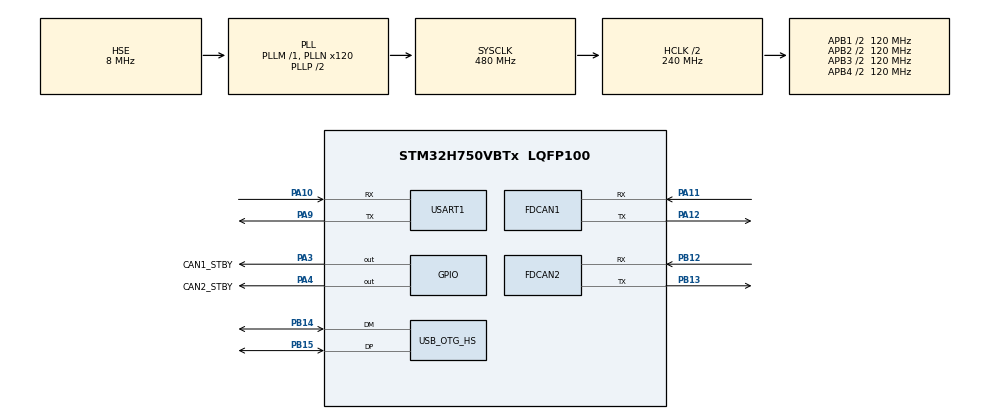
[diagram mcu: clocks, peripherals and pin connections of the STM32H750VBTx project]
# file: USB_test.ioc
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CORTEX_M7.default_mode_Activation=1
Dma.Request0=USART1_TX
Dma.USART1_TX.0.Direction=DMA_MEMORY_TO_PERIPH
Dma.USART1_TX.0.EventEnable=DISABLE
Dma.USART1_TX.0.FIFOMode=DMA_FIFOMODE_DISABLE
Dma.USART1_TX.0.Instance=DMA1_Stream0
Dma.USART1_TX.0.MemDataAlignment=DMA_MDATAALIGN_BYTE
Dma.USART1_TX.0.MemInc=DMA_MINC_ENABLE
Dma.USART1_TX.0.Mode=DMA_NORMAL
Dma.USART1_TX.0.PeriphDataAlignment=DMA_PDATAALIGN_BYTE
Dma.USART1_TX.0.PeriphInc=DMA_PINC_DISABLE
Dma.USART1_TX.0.Polarity=HAL_DMAMUX_REQ_GEN_RISING
Dma.USART1_TX.0.Priority=DMA_PRIORITY_LOW
Dma.USART1_TX.0.RequestNumber=1
Dma.USART1_TX.0.SignalID=NONE
Dma.USART1_TX.0.SyncEnable=DISABLE
Dma.USART1_TX.0.SyncPolarity=HAL_DMAMUX_SYNC_NO_EVENT
Dma.USART1_TX.0.SyncRequestNumber=1
Dma.USART1_TX.0.SyncSignalID=NONE
FDCAN1.CalculateBaudRateNominal=1000000
FDCAN1.CalculateTimeBitNominal=1000
FDCAN1.CalculateTimeQuantumNominal=62.5
FDCAN1.DataPrescaler=1
FDCAN1.DataSyncJumpWidth=3
FDCAN1.DataTimeSeg1=12
FDCAN1.DataTimeSeg2=3
FDCAN1.FrameFormat=FDCAN_FRAME_FD_BRS
FDCAN1.Mode=FDCAN_MODE_BUS_MONITORING
FDCAN1.NominalPrescaler=5
FDCAN1.NominalSyncJumpWidth=2
FDCAN1.NominalTimeSeg1=13
FDCAN1.NominalTimeSeg2=2
FDCAN1.ProtocolException=DISABLE
FDCAN1.RxFifo0ElmtSize=FDCAN_DATA_BYTES_64
FDCAN1.RxFifo0ElmtsNbr=64
FDCAN2.CalculateBaudRateNominal=1000000
FDCAN2.CalculateTimeBitNominal=1000
FDCAN2.CalculateTimeQuantumNominal=62.5
FDCAN2.DataSyncJumpWidth=3
FDCAN2.DataTimeSeg1=12
FDCAN2.DataTimeSeg2=3
FDCAN2.FrameFormat=FDCAN_FRAME_FD_BRS
FDCAN2.MessageRAMOffset=1152
FDCAN2.Mode=FDCAN_MODE_BUS_MONITORING
FDCAN2.NominalPrescaler=5
FDCAN2.NominalSyncJumpWidth=2
FDCAN2.NominalTimeSeg1=13
FDCAN2.NominalTimeSeg2=2
FDCAN2.RxFifo0ElmtSize=FDCAN_DATA_BYTES_64
FDCAN2.RxFifo0ElmtsNbr=64
Mcu.Family=STM32H7
Mcu.Name=STM32H750VBTx
Mcu.Package=LQFP100
NVIC.DMA1_Stream0_IRQn=true\:15\:0\:false\:false\:true\:false\:true\:true
NVIC.OTG_HS_EP1_IN_IRQn=true\:0\:0\:false\:false\:true\:true\:true\:true
NVIC.OTG_HS_EP1_OUT_IRQn=true\:0\:0\:false\:false\:true\:true\:true\:true
NVIC.OTG_HS_IRQn=true\:0\:0\:false\:false\:true\:false\:true\:true
NVIC.PriorityGroup=NVIC_PRIORITYGROUP_4
NVIC.USART1_IRQn=true\:15\:0\:false\:false\:true\:true\:true\:true
PA10.Mode=Asynchronous
PA10.Signal=USART1_RX
PA11.Mode=FDCAN_Activate
PA11.Signal=FDCAN1_RX
PA12.Mode=FDCAN_Activate
PA12.Signal=FDCAN1_TX
PA13\ (JTMS/SWDIO).Mode=Trace_Asynchronous_SW
PA13\ (JTMS/SWDIO).Signal=DEBUG_JTMS-SWDIO
PA14\ (JTCK/SWCLK).Mode=Trace_Asynchronous_SW
PA14\ (JTCK/SWCLK).Signal=DEBUG_JTCK-SWCLK
PA3.GPIO_Label=CAN1_STBY
PA3.GPIO_PinState=GPIO_PIN_RESET
PA3.Signal=GPIO_Output
PA4.GPIO_Label=CAN2_STBY
PA4.Signal=GPIO_Output
PA9.Mode=Asynchronous
PA9.Signal=USART1_TX
PB12.Mode=FDCAN_Activate
PB12.Signal=FDCAN2_RX
PB13.Mode=FDCAN_Activate
PB13.Signal=FDCAN2_TX
PB14.Mode=Device_Only_FS
PB14.Signal=USB_OTG_HS_DM
PB15.Mode=Device_Only_FS
PB15.Signal=USB_OTG_HS_DP
PB3\ (JTDO/TRACESWO).Mode=Trace_Asynchronous_SW
PB3\ (JTDO/TRACESWO).Signal=DEBUG_JTDO-SWO
PH0-OSC_IN\ (PH0).Mode=HSE-External-Oscillator
PH0-OSC_IN\ (PH0).Signal=RCC_OSC_IN
PH1-OSC_OUT\ (PH1).Mode=HSE-External-Oscillator
PH1-OSC_OUT\ (PH1).Signal=RCC_OSC_OUT
ProjectManager.HeapSize=0x200
ProjectManager.StackSize=0x400
ProjectManager.TargetToolchain=STM32CubeIDE
RCC.ADCFreq_Value=80000000
RCC.APB1Freq_Value=120000000
RCC.APB2Freq_Value=120000000
RCC.APB3Freq_Value=120000000
RCC.APB4Freq_Value=120000000
RCC.CortexFreq_Value=480000000
RCC.D1PPRE=RCC_APB3_DIV2
RCC.D2PPRE1=RCC_APB1_DIV2
RCC.D2PPRE2=RCC_APB2_DIV2
RCC.D3PPRE=RCC_APB4_DIV2
RCC.DIVM1=1
RCC.DIVM2=1
RCC.DIVM3=2
RCC.DIVN1=120
RCC.DIVN2=20
RCC.DIVN3=48
RCC.DIVQ1=8
RCC.DIVQ3=4
RCC.FDCANCLockSelection=RCC_FDCANCLKSOURCE_PLL2
RCC.HCLKFreq_Value=240000000
RCC.HPRE=RCC_HCLK_DIV2
RCC.HSE_VALUE=8000000
RCC.LockedElements=D1CPREOutput,USBoutput,FDCANoutput
RCC.PLL2FRACN=0
RCC.PLL3FRACN=0
RCC.PLLFRACN=0
RCC.PLLSourceVirtual=RCC_PLLSOURCE_HSE
RCC.SYSCLKFreq_VALUE=480000000
RCC.SYSCLKSource=RCC_SYSCLKSOURCE_PLLCLK
RCC.USBCLockSelection=RCC_USBCLKSOURCE_PLL3
RCC.USBFreq_Value=48000000
USART1.VirtualMode-Asynchronous=VM_ASYNC
USB_DEVICE.CLASS_NAME_HS=CDC
USB_DEVICE.VirtualMode-CDC_HS=Cdc
USB_DEVICE.VirtualModeHS=Cdc_HS
USB_OTG_HS.VirtualMode-Device_Only_FS=Device_Only_FS
VP_MEMORYMAP_VS_MEMORYMAP.Mode=CurAppReg
VP_USB_DEVICE_VS_USB_DEVICE_CDC_HS.Mode=CDC_HS
board=custom

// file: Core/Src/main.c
/* USER CODE BEGIN Header */
/**
  ******************************************************************************
  * @file           : main.c
  * @brief          : Main program body
  ******************************************************************************
  * @attention
  *
  * Copyright (c) 2026 STMicroelectronics.
  * All rights reserved.
  *
  * This software is licensed under terms that can be found in the LICENSE file
  * in the root directory of this software component.
  * If no LICENSE file comes with this software, it is provided AS-IS.
  *
  ******************************************************************************
  */
/* USER CODE END Header */
#include "main.h"
#include "usb_device.h"

/* USER CODE BEGIN Includes */
#include "can_sniffer.h"
#include "gs_usb_app.h"
#include "logger.h"
#include "stm32h7xx_hal_fdcan.h"
/* USER CODE END Includes */

FDCAN_HandleTypeDef hfdcan1;
FDCAN_HandleTypeDef hfdcan2;

UART_HandleTypeDef huart1;
DMA_HandleTypeDef hdma_usart1_tx;

void SystemClock_Config(void);
void PeriphCommonClock_Config(void);
static void MPU_Config(void);
static void MX_GPIO_Init(void);
static void MX_DMA_Init(void);
static void MX_FDCAN1_Init(void);
static void MX_USART1_UART_Init(void);
static void MX_FDCAN2_Init(void);

int main(void)
{

  /* MPU Configuration--------------------------------------------------------*/
  MPU_Config();

  /* MCU Configuration--------------------------------------------------------*/

  /* Reset of all peripherals, Initializes the Flash interface and the Systick. */
  HAL_Init();

  /* Configure the system clock */
  SystemClock_Config();

  /* Configure the peripherals common clocks */
  PeriphCommonClock_Config();

  /* Initialize all configured peripherals */
  MX_GPIO_Init();
  MX_DMA_Init();
  MX_FDCAN1_Init();
  MX_USART1_UART_Init();
  MX_USB_DEVICE_Init();
  MX_FDCAN2_Init();
  /* USER CODE BEGIN 2 */
  CAN_Sniffer_Init();
  GS_USB_App_Init();
  Logger_Write("CAN1 passive sniffer ready: USB gs_usb / SocketCAN\r\n");
  /* USER CODE END 2 */

  /* Infinite loop */
  while (1)
  {

    /* USER CODE BEGIN 3 */
    CAN_Sniffer_Process();
    GS_USB_App_Task();
    Logger_Process();

  }
  /* USER CODE END 3 */
}

void SystemClock_Config(void)
{
  RCC_OscInitTypeDef RCC_OscInitStruct = {0};
  RCC_ClkInitTypeDef RCC_ClkInitStruct = {0};

  /** Supply configuration update enable
  */
  HAL_PWREx_ConfigSupply(PWR_LDO_SUPPLY);

  /** Configure the main internal regulator output voltage
  */
  __HAL_PWR_VOLTAGESCALING_CONFIG(PWR_REGULATOR_VOLTAGE_SCALE0);

  while(!__HAL_PWR_GET_FLAG(PWR_FLAG_VOSRDY)) {}

  /** Initializes the RCC Oscillators according to the specified parameters
  * in the RCC_OscInitTypeDef structure.
  */
  RCC_OscInitStruct.OscillatorType = RCC_OSCILLATORTYPE_HSE;
  RCC_OscInitStruct.HSEState = RCC_HSE_ON;
  RCC_OscInitStruct.PLL.PLLState = RCC_PLL_ON;
  RCC_OscInitStruct.PLL.PLLSource = RCC_PLLSOURCE_HSE;
  RCC_OscInitStruct.PLL.PLLM = 1;
  RCC_OscInitStruct.PLL.PLLN = 120;
  RCC_OscInitStruct.PLL.PLLP = 2;
  RCC_OscInitStruct.PLL.PLLQ = 8;
  RCC_OscInitStruct.PLL.PLLR = 2;
  RCC_OscInitStruct.PLL.PLLRGE = RCC_PLL1VCIRANGE_3;
  RCC_OscInitStruct.PLL.PLLVCOSEL = RCC_PLL1VCOWIDE;
  RCC_OscInitStruct.PLL.PLLFRACN = 0;
  if (HAL_RCC_OscConfig(&RCC_OscInitStruct) != HAL_OK)
  {
    Error_Handler();
  }

  /** Initializes the CPU, AHB and APB buses clocks
  */
  RCC_ClkInitStruct.ClockType = RCC_CLOCKTYPE_HCLK|RCC_CLOCKTYPE_SYSCLK
                              |RCC_CLOCKTYPE_PCLK1|RCC_CLOCKTYPE_PCLK2
                              |RCC_CLOCKTYPE_D3PCLK1|RCC_CLOCKTYPE_D1PCLK1;
  RCC_ClkInitStruct.SYSCLKSource = RCC_SYSCLKSOURCE_PLLCLK;
  RCC_ClkInitStruct.SYSCLKDivider = RCC_SYSCLK_DIV1;
  RCC_ClkInitStruct.AHBCLKDivider = RCC_HCLK_DIV2;
  RCC_ClkInitStruct.APB3CLKDivider = RCC_APB3_DIV2;
  RCC_ClkInitStruct.APB1CLKDivider = RCC_APB1_DIV2;
  RCC_ClkInitStruct.APB2CLKDivider = RCC_APB2_DIV2;
  RCC_ClkInitStruct.APB4CLKDivider = RCC_APB4_DIV2;

  if (HAL_RCC_ClockConfig(&RCC_ClkInitStruct, FLASH_LATENCY_4) != HAL_OK)
  {
    Error_Handler();
  }
}

void PeriphCommonClock_Config(void)
{
  RCC_PeriphCLKInitTypeDef PeriphClkInitStruct = {0};

  /** Initializes the peripherals clock
  */
  PeriphClkInitStruct.PeriphClockSelection = RCC_PERIPHCLK_FDCAN;
  PeriphClkInitStruct.PLL2.PLL2M = 1;
  PeriphClkInitStruct.PLL2.PLL2N = 20;
  PeriphClkInitStruct.PLL2.PLL2P = 2;
  PeriphClkInitStruct.PLL2.PLL2Q = 2;
  PeriphClkInitStruct.PLL2.PLL2R = 2;
  PeriphClkInitStruct.PLL2.PLL2RGE = RCC_PLL2VCIRANGE_3;
  PeriphClkInitStruct.PLL2.PLL2VCOSEL = RCC_PLL2VCOMEDIUM;
  PeriphClkInitStruct.PLL2.PLL2FRACN = 0;
  PeriphClkInitStruct.FdcanClockSelection = RCC_FDCANCLKSOURCE_PLL2;
  if (HAL_RCCEx_PeriphCLKConfig(&PeriphClkInitStruct) != HAL_OK)
  {
    Error_Handler();
  }
}

static void MX_FDCAN1_Init(void)
{

  hfdcan1.Instance = FDCAN1;
  hfdcan1.Init.FrameFormat = FDCAN_FRAME_FD_BRS;
  hfdcan1.Init.Mode = FDCAN_MODE_BUS_MONITORING;
  hfdcan1.Init.AutoRetransmission = DISABLE;
  hfdcan1.Init.TransmitPause = DISABLE;
  hfdcan1.Init.ProtocolException = DISABLE;
  hfdcan1.Init.NominalPrescaler = 5;
  hfdcan1.Init.NominalSyncJumpWidth = 2;
  hfdcan1.Init.NominalTimeSeg1 = 13;
  hfdcan1.Init.NominalTimeSeg2 = 2;
  hfdcan1.Init.DataPrescaler = 1;
  hfdcan1.Init.DataSyncJumpWidth = 3;
  hfdcan1.Init.DataTimeSeg1 = 12;
  hfdcan1.Init.DataTimeSeg2 = 3;
  hfdcan1.Init.MessageRAMOffset = 0;
  hfdcan1.Init.StdFiltersNbr = 0;
  hfdcan1.Init.ExtFiltersNbr = 0;
  hfdcan1.Init.RxFifo0ElmtsNbr = 64;
  hfdcan1.Init.RxFifo0ElmtSize = FDCAN_DATA_BYTES_64;
  hfdcan1.Init.RxFifo1ElmtsNbr = 0;
  hfdcan1.Init.RxFifo1ElmtSize = FDCAN_DATA_BYTES_8;
  hfdcan1.Init.RxBuffersNbr = 0;
  hfdcan1.Init.RxBufferSize = FDCAN_DATA_BYTES_8;
  hfdcan1.Init.TxEventsNbr = 0;
  hfdcan1.Init.TxBuffersNbr = 0;
  hfdcan1.Init.TxFifoQueueElmtsNbr = 0;
  hfdcan1.Init.TxFifoQueueMode = FDCAN_TX_FIFO_OPERATION;
  hfdcan1.Init.TxElmtSize = FDCAN_DATA_BYTES_8;
  if (HAL_FDCAN_Init(&hfdcan1) != HAL_OK)
  {
    Error_Handler();
  }

}

static void MX_FDCAN2_Init(void)
{

  hfdcan2.Instance = FDCAN2;
  hfdcan2.Init.FrameFormat = FDCAN_FRAME_FD_BRS;
  hfdcan2.Init.Mode = FDCAN_MODE_BUS_MONITORING;
  hfdcan2.Init.AutoRetransmission = DISABLE;
  hfdcan2.Init.TransmitPause = DISABLE;
  hfdcan2.Init.ProtocolException = DISABLE;
  hfdcan2.Init.NominalPrescaler = 5;
  hfdcan2.Init.NominalSyncJumpWidth = 2;
  hfdcan2.Init.NominalTimeSeg1 = 13;
  hfdcan2.Init.NominalTimeSeg2 = 2;
  hfdcan2.Init.DataPrescaler = 1;
  hfdcan2.Init.DataSyncJumpWidth = 3;
  hfdcan2.Init.DataTimeSeg1 = 12;
  hfdcan2.Init.DataTimeSeg2 = 3;
  hfdcan2.Init.MessageRAMOffset = 1152;
  hfdcan2.Init.StdFiltersNbr = 0;
  hfdcan2.Init.ExtFiltersNbr = 0;
  hfdcan2.Init.RxFifo0ElmtsNbr = 64;
  hfdcan2.Init.RxFifo0ElmtSize = FDCAN_DATA_BYTES_64;
  hfdcan2.Init.RxFifo1ElmtsNbr = 0;
  hfdcan2.Init.RxFifo1ElmtSize = FDCAN_DATA_BYTES_8;
  hfdcan2.Init.RxBuffersNbr = 0;
  hfdcan2.Init.RxBufferSize = FDCAN_DATA_BYTES_8;
  hfdcan2.Init.TxEventsNbr = 0;
  hfdcan2.Init.TxBuffersNbr = 0;
  hfdcan2.Init.TxFifoQueueElmtsNbr = 0;
  hfdcan2.Init.TxFifoQueueMode = FDCAN_TX_FIFO_OPERATION;
  hfdcan2.Init.TxElmtSize = FDCAN_DATA_BYTES_8;
  if (HAL_FDCAN_Init(&hfdcan2) != HAL_OK)
  {
    Error_Handler();
  }

}

static void MX_USART1_UART_Init(void)
{

  huart1.Instance = USART1;
  huart1.Init.BaudRate = 115200;
  huart1.Init.WordLength = UART_WORDLENGTH_8B;
  huart1.Init.StopBits = UART_STOPBITS_1;
  huart1.Init.Parity = UART_PARITY_NONE;
  huart1.Init.Mode = UART_MODE_TX_RX;
  huart1.Init.HwFlowCtl = UART_HWCONTROL_NONE;
  huart1.Init.OverSampling = UART_OVERSAMPLING_16;
  huart1.Init.OneBitSampling = UART_ONE_BIT_SAMPLE_DISABLE;
  huart1.Init.ClockPrescaler = UART_PRESCALER_DIV1;
  huart1.AdvancedInit.AdvFeatureInit = UART_ADVFEATURE_NO_INIT;
  if (HAL_UART_Init(&huart1) != HAL_OK)
  {
    Error_Handler();
  }
  if (HAL_UARTEx_SetTxFifoThreshold(&huart1, UART_TXFIFO_THRESHOLD_1_8) != HAL_OK)
  {
    Error_Handler();
  }
  if (HAL_UARTEx_SetRxFifoThreshold(&huart1, UART_RXFIFO_THRESHOLD_1_8) != HAL_OK)
  {
    Error_Handler();
  }
  if (HAL_UARTEx_DisableFifoMode(&huart1) != HAL_OK)
  {
    Error_Handler();
  }
  /* USER CODE BEGIN USART1_Init 2 */
  Logger_Init(&huart1);
  Logger_SetItmEnabled(1U);
  Logger_Write("\r\nUSB_test starting\r\n");
  Logger_Printf("CPU clock: %lu Hz\r\n",
                (unsigned long)HAL_RCC_GetSysClockFreq());

  /* USER CODE END USART1_Init 2 */

}

static void MX_DMA_Init(void)
{

  /* DMA controller clock enable */
  __HAL_RCC_DMA1_CLK_ENABLE();

  /* DMA interrupt init */
  /* DMA1_Stream0_IRQn interrupt configuration */
  HAL_NVIC_SetPriority(DMA1_Stream0_IRQn, 15, 0);
  HAL_NVIC_EnableIRQ(DMA1_Stream0_IRQn);

}

static void MX_GPIO_Init(void)
{
  GPIO_InitTypeDef GPIO_InitStruct = {0};

  /* GPIO Ports Clock Enable */
  __HAL_RCC_GPIOH_CLK_ENABLE();
  __HAL_RCC_GPIOA_CLK_ENABLE();
  __HAL_RCC_GPIOB_CLK_ENABLE();

  /*Configure GPIO pin Output Level */
  HAL_GPIO_WritePin(GPIOA, CAN1_STBY_Pin|CAN2_STBY_Pin, GPIO_PIN_RESET);

  /*Configure GPIO pins : CAN1_STBY_Pin CAN2_STBY_Pin */
  GPIO_InitStruct.Pin = CAN1_STBY_Pin|CAN2_STBY_Pin;
  GPIO_InitStruct.Mode = GPIO_MODE_OUTPUT_PP;
  GPIO_InitStruct.Pull = GPIO_NOPULL;
  GPIO_InitStruct.Speed = GPIO_SPEED_FREQ_LOW;
  HAL_GPIO_Init(GPIOA, &GPIO_InitStruct);

}

 /* MPU Configuration */

void MPU_Config(void)
{
  MPU_Region_InitTypeDef MPU_InitStruct = {0};

  /* Disables the MPU */
  HAL_MPU_Disable();

  /** Initializes and configures the Region and the memory to be protected
  */
  MPU_InitStruct.Enable = MPU_REGION_ENABLE;
  MPU_InitStruct.Number = MPU_REGION_NUMBER0;
  MPU_InitStruct.BaseAddress = 0x0;
  MPU_InitStruct.Size = MPU_REGION_SIZE_4GB;
  MPU_InitStruct.SubRegionDisable = 0x87;
  MPU_InitStruct.TypeExtField = MPU_TEX_LEVEL0;
  MPU_InitStruct.AccessPermission = MPU_REGION_NO_ACCESS;
  MPU_InitStruct.DisableExec = MPU_INSTRUCTION_ACCESS_DISABLE;
  MPU_InitStruct.IsShareable = MPU_ACCESS_SHAREABLE;
  MPU_InitStruct.IsCacheable = MPU_ACCESS_NOT_CACHEABLE;
  MPU_InitStruct.IsBufferable = MPU_ACCESS_NOT_BUFFERABLE;

  HAL_MPU_ConfigRegion(&MPU_InitStruct);
  /* Enables the MPU */
  HAL_MPU_Enable(MPU_PRIVILEGED_DEFAULT);

}

void Error_Handler(void)
{
  __disable_irq();
  while (1)
  {
  }
}
